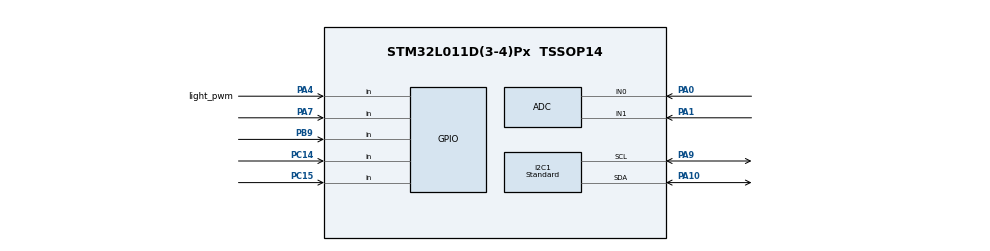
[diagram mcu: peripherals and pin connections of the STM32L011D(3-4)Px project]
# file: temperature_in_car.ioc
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ADC.ClockPrescaler=ADC_CLOCK_ASYNC_DIV64
ADC.SamplingTime=ADC_SAMPLETIME_160CYCLES_5
I2C1.I2C_Speed_Mode=I2C_Standard
I2C1.Timing=0x00303D5B
Mcu.Family=STM32L0
Mcu.Name=STM32L011D(3-4)Px
Mcu.Package=TSSOP14
PA0-CK_IN.Mode=IN0
PA0-CK_IN.Signal=ADC_IN0
PA1.Mode=IN1
PA1.Signal=ADC_IN1
PA10.GPIO_Pu=GPIO_PULLUP
PA10.Mode=I2C
PA10.Signal=I2C1_SDA
PA13.Mode=Serial_Wire
PA13.Signal=SYS_SWDIO
PA14.Mode=Serial_Wire
PA14.Signal=SYS_SWCLK
PA4.GPIO_Label=light_pwm
PA4.Signal=GPIO_Input
PA7.GPIO_PuPd=GPIO_PULLUP
PA7.Signal=GPIO_Input
PA9.GPIO_Pu=GPIO_PULLUP
PA9.Mode=I2C
PA9.Signal=I2C1_SCL
PB9-BOOT0.GPIO_PuPd=GPIO_PULLUP
PB9-BOOT0.Signal=GPIO_Input
PC14-OSC32_IN.GPIO_PuPd=GPIO_PULLUP
PC14-OSC32_IN.Signal=GPIO_Input
PC15-OSC32_OUT.GPIO_PuPd=GPIO_PULLUP
PC15-OSC32_OUT.Signal=GPIO_Input
ProjectManager.HeapSize=0x10
ProjectManager.StackSize=0x100
ProjectManager.TargetToolchain=STM32CubeIDE
RCC.AHBFreq_Value=16000000
RCC.APB1Freq_Value=16000000
RCC.APB1TimFreq_Value=16000000
RCC.APB2Freq_Value=16000000
RCC.APB2TimFreq_Value=16000000
RCC.HCLKFreq_Value=16000000
RCC.HSE_VALUE=8000000
RCC.HSI16_VALUE=16000000
RCC.HSI_VALUE=16000000
RCC.LSE_VALUE=32768
RCC.MSI_VALUE=2097000
RCC.PLLMUL=RCC_PLLMUL_4
RCC.SYSCLKFreq_VALUE=16000000
RCC.SYSCLKSource=RCC_SYSCLKSOURCE_HSI
RCC.VCOOutputFreq_Value=64000000
VP_ADC_Vref_Input.Mode=IN-Vrefint
board=custom

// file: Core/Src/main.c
/* USER CODE BEGIN Header */
/**
  ******************************************************************************
  * @file    main.c
  * @author  Макс
  * @brief   Автомобильный информационный дисплей на STM32L011
  *
  * @details
  * Устройство предназначено для установки в автомобиль и отображает:
  *   - Точное время с модуля DS3231 (RTC) на OLED-дисплее SSD1306.
  *   - Напряжение АКБ с предупреждением при выходе за допустимые пределы.
  *   - Температуру двигателя с датчика DS1621.
  *   - Автоматически регулирует яркость дисплея в зависимости от:
  *       • наличия зажигания (Veng),
  *       • состояния фар (Vlight).
  *
  * Управление:
  *   - Три кнопки: левая (H), средняя (M), правая (R).
  *   - Длинное нажатие правой кнопки → вход в режим настройки времени.
  *   - В режиме настройки:
  *       • Левая кнопка — увеличение часов,
  *       • Средняя — увеличение минут,
  *       • Короткое нажатие правой — сохранение и выход.
  *
  * Архитектура:
  *   - Без RTOS, кооперативная многозадачность через программные таймеры.
  *   - Все циклы (_cycle) вызываются в main() и работают независимо.
  *   - Защита от зависания — IWDG (независимый сторожевой таймер).
  *   - АЦП: 4 канала, медианная фильтрация по 8 выборкам, калибровка по VREFINT.
  *
  * Подключение:
  *   - Кнопки: PC14 (H), PC15 (M), PA7 (R) — активный уровень: низкий.
  *   - АЦП: канал 1 — Veng, канал 0 — Vbat, канал 4 — Vlight.
  *   - I2C1: SCL — PB6, SDA — PB7 (DS3231 и DS1621).
  *   - OLED: SSD1306 по I2C на том же шине.
  ******************************************************************************
  * @attention
  *
  * Copyright (c) 2025 STMicroelectronics.
  * All rights reserved.
  *
  * This software is licensed under terms that can be found in the LICENSE file
  * in the root directory of this software component.
  * If no LICENSE file comes with this software, it is provided AS-IS.
  *
  ******************************************************************************
  */
/* USER CODE END Header */
#include "main.h"
#include "adc.h"
#include "i2c.h"
#include "gpio.h"

/* USER CODE BEGIN Includes */
#include "misc.h"
#include "ssd1306.h"
#include "rtc_DS3231.h"
#include "ds1621.h"
#include "stm32l011_my_hal.h"
/* USER CODE END Includes */

/* USER CODE BEGIN PD */

// -------------------------------------------------------------------------
// ПЕР�?ОДЫ ОБНОВЛЕН�?Я (в миллисекундах)
// -------------------------------------------------------------------------
#define CLOCK_UPDATE_PERIOD_MS          500     ///< Обновление времени дважды в секунду (для мигания двоеточия)
#define VOLTAGE_UPDATE_PERIOD_MS        200     ///< Обновление напряжения АКБ 5 раз/сек
#define TEMPERATURE_UPDATE_PERIOD_MS    1000    ///< Чтение температуры раз в секунду
#define BUTTON_UPDATE_PERIOD_MS         10      ///< Опрос кнопок каждые 10 мс (антидребезг)
#define ADC_UPDATE_PERIOD_MS            100     ///< Полный цикл АЦП (включая усреднение по 8 точкам)
#define SCREEN_UPDATE_PERIOD_MS         100     ///< Обновление OLED раз в 100 мс
#define CALC_PWM_PERIOD_MS         		12

// -------------------------------------------------------------------------
// ПАРАМЕТРЫ ДЕЛ�?ТЕЛЕЙ НАПРЯЖЕН�?Я (в омах)
// �?спользуются для расчёта реального напряжения по показаниям АЦП:
//   V_реал = V_АЦП * (R_HI + R_LO) / R_LO
// -------------------------------------------------------------------------
#define R_HI_V_ENG                      83200   ///< Верхний резистор делителя для напряжения зажигания
#define R_LO_V_ENG                      19860   ///< Нижний резистор делителя для напряжения зажигания
#define R_HI_V_BAT                      82400   ///< Верхний резистор делителя для напряжения АКБ
#define R_LO_V_BAT                      19890   ///< Нижний резистор делителя для напряжения АКБ
#define R_HI_V_LIGHT                    81800   ///< Верхний резистор делителя для напряжения фар
#define R_LO_V_LIGHT                    19940   ///< Нижний резистор делителя для напряжения фар

// -------------------------------------------------------------------------
// ПОРОГ�? ПРЕДУПРЕЖДЕН�?Й (в милливольтах и градусах Цельсия)
// -------------------------------------------------------------------------
#define V_BAT_HI_WARNING_mV             14600   ///< Предупреждение: напряжение АКБ > 14.6 В (перезаряд)
#define V_BAT_LO_WARNING_mV             12000   ///< Предупреждение: напряжение АКБ < 12.0 В (разряд)
#define V_LO_THRESHOLD_mV               2000    ///< Порог: зажигание считается выключенным (<2 В)
#define V_LO_THRESHOLD_LIGHT_mV         8000    ///< Порог: фары выключены (<8 В) → днём → макс. яркость
#define T_HI_WARNING                    106     ///< Предупреждение: температура >= 106°C (перегрев)
#define T_LO_WARNING                    0       ///< Предупреждение: температура <= 0°C

// -------------------------------------------------------------------------
// КАЛ�?БРОВКА АЦП
// Эмпирические коэффициенты для коррекции систематической ошибки измерений.
// Формула: V_корр = ((V_расч * VOLTAGE_CORRECT_K) >> 16) + VOLTAGE_CORRECT_B
// -------------------------------------------------------------------------
#define VOLTAGE_CORRECT_K               67650   ///< Множитель в формате Q16.16 (сдвиг на 16 бит)
#define VOLTAGE_CORRECT_B               -159    ///< Аддитивная поправка, мВ

// -------------------------------------------------------------------------
// ПАРАМЕТРЫ ОБРАБОТК�? КНОПОК
// -------------------------------------------------------------------------
#define ADC_AVRG_NUM                    8       ///< Количество выборок АЦП для медианной фильтрации
#define BUTTON_LONG_PRESS_COUNT_LIMIT   (10000 / BUTTON_UPDATE_PERIOD_MS)  ///< 1000 = 10 сек (длинное нажатие)
#define BUTTON_PRESS_COUNT_LIMIT        (100 / BUTTON_UPDATE_PERIOD_MS)    ///< 10 = 100 мс (короткое нажатие)

/* USER CODE END PD */

/* USER CODE BEGIN PV */

/**
 * @brief Состояния кнопок
 */
enum button_state {
    BUTTON_IDLE = 0,   ///< Кнопка не нажата
    BUTTON_PRESS,      ///< Короткое нажатие (100 мс <= t < 10 сек)
    BUTTON_LPRESS,      ///< Длинное нажатие (t >= 10 сек)
	BUTTON_READED	// состояние прочитано, сбрасывайте
};

/**
 * @brief �?мена кнопок (соответствуют физическим кнопкам)
 */
enum button_name {
    BUTTON_H = 0,      ///< Левая кнопка (High / Hours)
    BUTTON_M,          ///< Средняя кнопка (Minutes)
    BUTTON_R           ///< Правая кнопка (Right / Enter)
};

typedef enum  {
	LIGHT_MODE_AUTO = 0,
	LIGHT_MODE_MIN,
	LIGHT_MODE_MAX,
	LIGHT_MODE_NUM
}light_mode_t;

/**
 * @brief Глобальный кэш состояния системы
 *
 * Все данные, которые должны сохраняться между вызовами _cycle() функций,
 * хранятся здесь. Это позволяет избежать глобальных переменных в разброс.
 */
struct {
    // --- Время ---
    DS3231_t time;                  ///< Текущее время от модуля DS3231
    timer_t tim_update_clock;       ///< Таймер обновления часов

    // --- Напряжения ---
    timer_t tim_update_voltage;     ///< Таймер обновления отображения напряжения
    timer_t tim_update_adc;         ///< Таймер АЦП
    uint32_t Veng_mV;               ///< Напряжение зажигания (мВ)
    uint32_t Vbat_mV;               ///< Напряжение АКБ (мВ)

    // --- Температура ---
    timer_t tim_update_temperature; ///< Таймер обновления температуры

    // --- Кнопки ---
    timer_t tim_update_button;      ///< Таймер опроса кнопок
    enum button_state button_state[BUTTON_R + 1]; ///< Текущее состояние трёх кнопок

    // --- Дисплей ---
    timer_t tim_update_screen;      ///< Таймер обновления OLED
    light_mode_t light_mode;
} cache;

/* USER CODE END PV */

void SystemClock_Config(void);

/* USER CODE BEGIN 0 */

/**
 * @brief Режим редактирования времени
 *
 * Управление:
 *   - Длинное нажатие правой кнопки (BUTTON_R) → вход в режим настройки.
 *   - В режиме настройки:
 *       • Левая кнопка (BUTTON_H) — +1 час (0–23),
 *       • Средняя кнопка (BUTTON_M) — +1 минута (0–59),
 *       • Короткое нажатие правой кнопки — сохранить и выйти.
 *
 * Особенности:
 *   - При изменении времени строка немедленно отображается на экране (инвертированная).
 *   - После выхода из режима все кнопки сбрасываются в BUTTON_IDLE.
 *   - Время корректируется через DS3231_correct(), метка коррекции сохраняется в EEPROM[0].
 *
 * @return 1, если находится в режиме редактирования; 0 — в обычном режиме.
 */
int Clock_edit(void)
{
    static uint8_t state = 0;           // 0 — ожидание входа, 1 — редактирование
    static uint8_t new_hour = 0;        // Редактируемое значение часов
    static uint8_t new_minutes = 0;     // Редактируемое значение минут
    static uint8_t need_update = 0;     // Флаг необходимости обновить отображение

    switch (state) {
        case 0:
            // Ожидаем длинное нажатие правой кнопки для входа в настройку
            if (cache.button_state[BUTTON_R] == BUTTON_LPRESS) {
                // Загружаем текущее время из кэша
                new_hour = cache.time.hours_10 * 10 + cache.time.hours;
                new_minutes = cache.time.minutes_10 * 10 + cache.time.minutes;
                state = 1;
                need_update = 1;
            }
            break;

        case 1:
            // Управление часами
            if (cache.button_state[BUTTON_H] == BUTTON_PRESS) {
                if (new_hour < 23) new_hour++; else new_hour = 0;
                need_update = 1;
            }

            // Управление минутами
            if (cache.button_state[BUTTON_M] == BUTTON_PRESS) {
                if (new_minutes < 59) new_minutes++; else new_minutes = 0;
                need_update = 1;
            }

            // Сохранение и выход
            if (cache.button_state[BUTTON_R] == BUTTON_PRESS) {
                uint32_t last_correct_sec = EEPROM_ReadWord(0); // Читаем метку из EEPROM
                int res = DS3231_correct(new_hour, new_minutes, 0, &last_correct_sec);
                if (res > 0) EEPROM_WriteWord(0, last_correct_sec); // Сохраняем новую метку
                res = DS3231_Read(&cache.time); // Обновляем кэш времени
                state = 0;
            }

            // Обновление отображения редактируемого времени
            if (need_update) {
                static char time_str[6] = {[5] = 0}; // "HH MM\0"
                time_str[0] = '0' + new_hour / 10;
                time_str[1] = '0' + new_hour % 10;
                time_str[2] = ' ';
                time_str[3] = '0' + new_minutes / 10;
                time_str[4] = '0' + new_minutes % 10;
                ssd1306_SetCursor(0, 0);
                ssd1306_WriteString(time_str, 1, 1); // �?нвертированный текст
                need_update = 0;
            }
            break;

        default:
            state = 0;
            break;
    }

    // Сброс состояния кнопок после обработки (защита от повторного срабатывания)
    cache.button_state[BUTTON_R] = BUTTON_READED;
    if (cache.button_state[BUTTON_H] == BUTTON_PRESS) cache.button_state[BUTTON_H] = BUTTON_READED; // обработка долгого нажатия в другом месте - light
    if (cache.button_state[BUTTON_M] == BUTTON_PRESS) cache.button_state[BUTTON_M] = BUTTON_READED;

    return state;
}

/**
 * @brief Цикл обновления часов и отображения времени
 *
 * Логика:
 *   - При первом вызове инициализирует таймер обновления.
 *   - Если активен режим редактирования (Clock_edit() == 1) — обновление приостанавливается.
 *   - Каждые CLOCK_UPDATE_PERIOD_MS (500 мс):
 *       • Через раз читает время из DS3231 (чтобы не перегружать шину),
 *       • Формирует строку "HH:MM" с мигающим двоеточием (через раз — пробел),
 *       • При ошибке чтения выводит "::X::", где X = -код ошибки.
 */
void Clock_cycle(void)
{
    static uint8_t cnt = 0;
    static char time_str[6] = {[5] = 0}; // "HH:MM\0"
    static uint8_t is_init = 0;

    if (!is_init) {
        Timer_set(&cache.tim_update_clock, CLOCK_UPDATE_PERIOD_MS);
        is_init = 1;
    }

    int is_clock_edit = Clock_edit(); // Обязательно вызывать каждый цикл!
    if (Timer_isExpired(&cache.tim_update_clock)) {
        if (is_clock_edit) return; // В режиме редактирования не обновляем время

        cnt++;
        static int res = 0;
        if (cnt & 1) {
            res = DS3231_Read(&cache.time); // Читаем только на нечётных тиках
        }

        if (res > 0) {
            // Успешное чтение — формируем строку времени
            time_str[0] = '0' + cache.time.hours_10;
            time_str[1] = '0' + cache.time.hours;
            time_str[2] = (cnt & 1) ? ' ' : ':'; // Мигание двоеточия
            time_str[3] = '0' + cache.time.minutes_10;
            time_str[4] = '0' + cache.time.minutes;
        } else {
            // Ошибка чтения — выводим диагностический код
            time_str[0] = ':';
            time_str[1] = ':';
            time_str[2] = '0' - res; // Например, если res = -2 → '2'
            time_str[3] = ':';
            time_str[4] = ':';
        }

        ssd1306_SetCursor(0, 0);
        ssd1306_WriteString(time_str, 1, 0); // Нормальный (не инвертированный) текст
    }
}

/**
 * @brief Цикл опроса кнопок с антидребезгом
 *
 * Подключение:
 *   - BUTTON_H (левая): PC14, активный уровень — низкий.
 *   - BUTTON_M (средняя): PC15, активный уровень — низкий.
 *   - BUTTON_R (правая): PA7, активный уровень — низкий.
 *
 * Логика:
 *   - Каждые BUTTON_UPDATE_PERIOD_MS (10 мс) опрашивает состояние GPIO.
 *   - Для каждой кнопки ведёт счётчик непрерывного нажатия.
 *   - При отпускании:
 *       • Если счётчик в [BUTTON_PRESS_COUNT_LIMIT, BUTTON_LONG_PRESS_COUNT_LIMIT) → BUTTON_PRESS,
 *       • Если счётчик >= BUTTON_LONG_PRESS_COUNT_LIMIT → BUTTON_LPRESS.
 *   - Счётчик сбрасывается при отпускании.
 */
void Button_cycle(void)
{
    static uint8_t is_init = 0;
    if (!is_init) {
        Timer_set(&cache.tim_update_button, BUTTON_UPDATE_PERIOD_MS);
        is_init = 1;
    }

    static uint32_t button_counter[BUTTON_R + 1] = {0};
    uint8_t button_press[BUTTON_R + 1];

    if (Timer_isExpired(&cache.tim_update_button)) {
        // Опрос GPIO (активный уровень — низкий)
        button_press[BUTTON_H] = !LL_GPIO_IsInputPinSet(GPIOC, LL_GPIO_PIN_14);
        button_press[BUTTON_M] = !LL_GPIO_IsInputPinSet(GPIOC, LL_GPIO_PIN_15);
        button_press[BUTTON_R] = !LL_GPIO_IsInputPinSet(GPIOA, LL_GPIO_PIN_7);

        for (int i = BUTTON_H; i <= BUTTON_R; i++)
        {
        	if (cache.button_state[i] == BUTTON_READED)
        	{
        		cache.button_state[i] = BUTTON_IDLE;
        		button_counter[i] = 0;
        	}
            if (button_press[i])
            {
                button_counter[i]++;
            }
            else
            {
                // Кнопка отпущена — анализируем длительность нажатия
                if ((button_counter[i] > BUTTON_PRESS_COUNT_LIMIT) &&
                    (button_counter[i] < BUTTON_LONG_PRESS_COUNT_LIMIT))
                {
                    cache.button_state[i] = BUTTON_PRESS;
                }
                button_counter[i] = 0; // Сброс счётчика
            }
            // Проверка на длинное нажатие (даже если кнопка всё ещё нажата)
            if (button_counter[i] >= BUTTON_LONG_PRESS_COUNT_LIMIT)
            {
                cache.button_state[i] = BUTTON_LPRESS;
            }
        }
    }
}

int _calc_light_pwm(uint16_t *pwm_duty)
{
	timer_t _timer;
	Timer_set(&_timer, CALC_PWM_PERIOD_MS);
	uint8_t first_pin_state = !!LL_GPIO_IsInputPinSet(light_pwm_GPIO_Port, light_pwm_Pin);
	uint8_t num_changes = 0; // количество фронтов
	uint8_t last_pin = first_pin_state;
	uint8_t current_pin;
	uint32_t front_timestamp[3];

	while(!Timer_isExpired(&_timer))
	{
		current_pin = !!LL_GPIO_IsInputPinSet(light_pwm_GPIO_Port, light_pwm_Pin);
		if (current_pin != last_pin)
		{
			front_timestamp[num_changes++] = timer_get_mks();
			if (num_changes == 3) break;
		}
		last_pin = current_pin;
	}

	if(num_changes == 0) // фронтов небыло
	{
		*pwm_duty = first_pin_state ? 0xFF : 0;
		return 1;
	}

	if(num_changes != 3) // не расчитали полный период
		return -1;

	uint16_t t0 = (uint16_t)(front_timestamp[1] - front_timestamp[0]);
	uint16_t t1 = (uint16_t)(front_timestamp[2] - front_timestamp[1]);

	if ((t0 < 200) || (t1 < 200))	// слишком малые периоды
		return -2;

	uint16_t period = front_timestamp[2] - front_timestamp[0]; // полный период
	uint16_t pulse = (first_pin_state) ? t1 : t0;               // длительность HIGH
	*pwm_duty = (uint16_t)((0xFFFFul * pulse) / period);

	return 1;
}

/**
 * @brief Цикл управления OLED-дисплеем SSD1306
 *
 * Логика регулировки яркости:
 *   1. Если Veng < V_LO_THRESHOLD_mV (2 В) → зажигание выключено → яркость = 0 (минимум).
 *   2. Если Vlight < V_LO_THRESHOLD_LIGHT_mV (8 В) → фары выключены → считаем, что днём → яркость = 0xFF (максимум).
 *   3. Если Vlight > Veng → ошибка подключения → яркость = 0.
 *   4. �?наче (фары включены, зажигание включено):
 *        яркость = 0xFF - (Vlight - 8000) * 0xFF / (Veng - 8000)
 *        → чем выше Vlight (ближе к Veng), тем темнее экран.
 *
 * Дополнительно:
 *   - При первом вызове инициализирует дисплей.
 *   - Обновляет экран каждые SCREEN_UPDATE_PERIOD_MS.
 */
void Display_cycle(void)
{
    static uint8_t is_init = 0;

    if (!is_init) {
        ssd1306_Init(); // �?нициализация OLED
        Timer_set(&cache.tim_update_screen, SCREEN_UPDATE_PERIOD_MS);
        uint8_t light_mode = EEPROM_ReadWord(4);
        if (light_mode < LIGHT_MODE_NUM)
        	cache.light_mode = (light_mode_t)light_mode;
        is_init = 1;
    }

    if (cache.button_state[BUTTON_H] == BUTTON_LPRESS)
    {
    	cache.button_state[BUTTON_H] = BUTTON_READED;
    	cache.light_mode++;
    	if (cache.light_mode == LIGHT_MODE_NUM)
    		cache.light_mode = LIGHT_MODE_AUTO;
    	EEPROM_WriteWord(4, (uint32_t)cache.light_mode);
    }
    if (cache.button_state[BUTTON_M] == BUTTON_LPRESS)
    {
      	cache.button_state[BUTTON_H] = BUTTON_READED;
        cache.light_mode = LIGHT_MODE_AUTO;
        EEPROM_WriteWord(4, (uint32_t)cache.light_mode);
    }

    if (!Timer_isExpired(&cache.tim_update_screen)) return;

    static uint8_t light = 1; // Текущая яркость
    // Расчёт новой яркости
    do {
    if (cache.Veng_mV < V_LO_THRESHOLD_mV) // Зажигание выключено
    {
    	light = 0;
    	break;
    }

    if (cache.light_mode != LIGHT_MODE_AUTO)
    {
    	light = cache.light_mode == LIGHT_MODE_MIN ? 0 : 0XFF;
    	break;
    }

    uint16_t pwm_duty;
    int res = _calc_light_pwm(&pwm_duty);
    if (res <= 0)
    	break;

    const uint16_t p_max = 4ul * 0xFFFFul / 5ul; // минимальная подсветка если  будет больше, то light = 0

    if (pwm_duty >= p_max )// при pwm = 4/5 - минимальная подсветка
    {
    	light = 0;
    	break;
    }

    // k = 5 * 0xFF / (4 * 0xFFFF)  b=0xFF light = b - k* pwm_duty
    light = 0xFF - (5ul * 0xFFul * pwm_duty)/(4ul * 0xFFFFul);

    } while(0);
    // Применяем новую яркость
    ssd1306_SetContrast(light);

    // Обновляем содержимое экрана
    ssd1306_UpdateScreen();
}

/**
 * @brief Цикл измерения аналоговых напряжений
 *
 * �?змеряемые каналы:
 *   - Veng: LL_ADC_CHANNEL_1 → напряжение зажигания
 *   - Vbat: LL_ADC_CHANNEL_0 → напряжение АКБ
 *   - Vlight: LL_ADC_CHANNEL_4 → напряжение фар
 *   - Vref: LL_ADC_CHANNEL_VREFINT → внутренний опорный для калибровки
 *
 * Логика:
 *   - Каждые (ADC_UPDATE_PERIOD_MS / ADC_AVRG_NUM) = 12.5 мс измеряется один канал.
 *   - После 8 измерений (полный цикл) выполняется обработка:
 *       1. Вычисляется медиана по Vrefint → определяется коэффициент масштаба k.
 *       2. Для каждого канала:
 *           - Берётся медиана из 8 значений,
 *           - Переводится в мВ: V_mV = raw * (VREFINT_CAL / Vref_median),
 *           - Умножается на коэффициент делителя,
 *           - Применяется линейная коррекция (K и B).
 */
void ADC_cycle(void)
{
    enum channels_name { Veng = 0, Vbat, Vref, size_ };
    const uint32_t channels_[size_] = {
        LL_ADC_CHANNEL_1,           // Veng
        LL_ADC_CHANNEL_0,           // Vbat
        LL_ADC_CHANNEL_VREFINT      // Vref
    };

    static uint16_t adc[size_][ADC_AVRG_NUM] = {0}; // Кольцевой буфер измерений
    static uint8_t curr = 0;                        // Текущий индекс в буфере

    static uint8_t is_init = 0;
    if (!is_init) {
        Timer_set(&cache.tim_update_adc, ADC_UPDATE_PERIOD_MS / ADC_AVRG_NUM);
        is_init = 1;
    }

    if (!Timer_isExpired(&cache.tim_update_adc)) return;

    // Выполняем одно измерение по каждому каналу
    for (int i = Veng; i < size_; i++) {
        adc[i][curr] = Read_ADC_Channel(channels_[i]);
    }

    curr++;
    if (curr == ADC_AVRG_NUM) { // Собрали полный набор → обрабатываем
        curr = 0;

        // Калибровка по внутреннему опорному напряжению
        uint16_t V_ref_median = GetMedian_16(&adc[Vref][0], ADC_AVRG_NUM);
        uint32_t k = GET_ADC_K(ADC_V_REF_mV, V_ref_median); // k = (Vref_cal * 4095) / V_ref_median

        // Обработка Veng
        uint16_t V = GetMedian_16(&adc[Veng][0], ADC_AVRG_NUM);
        cache.Veng_mV = GET_mV(V, k) * (R_HI_V_ENG + R_LO_V_ENG) / R_LO_V_ENG;
        cache.Veng_mV = ((VOLTAGE_CORRECT_K * cache.Veng_mV) >> 16) + VOLTAGE_CORRECT_B;

        // Обработка Vbat
        V = GetMedian_16(&adc[Vbat][0], ADC_AVRG_NUM);
        cache.Vbat_mV = GET_mV(V, k) * (R_HI_V_BAT + R_LO_V_BAT) / R_LO_V_BAT;
        cache.Vbat_mV = ((VOLTAGE_CORRECT_K * cache.Vbat_mV) >> 16) + VOLTAGE_CORRECT_B;

    }
}

/**
 * @brief Отображение напряжения АКБ на OLED
 *
 * Логика:
 *   - Каждые VOLTAGE_UPDATE_PERIOD_MS (200 мс) обновляет строку вида " 12.5v".
 *   - Если Vbat_mV выходит за [V_BAT_LO_WARNING_mV, V_BAT_HI_WARNING_mV] → текст инвертируется.
 *   - Позиция: правый верхний угол (80, 0).
 */
void Voltage_cycle(void)
{
    static uint8_t is_init = 0;
    if (!is_init) {
        Timer_set(&cache.tim_update_voltage, VOLTAGE_UPDATE_PERIOD_MS);
        is_init = 1;
    }

    if (!Timer_isExpired(&cache.tim_update_voltage)) return;

    // Проверка на аварийное напряжение
    uint8_t is_warning = (cache.Vbat_mV < V_BAT_LO_WARNING_mV) ||
                         (cache.Vbat_mV > V_BAT_HI_WARNING_mV);

    // Преобразуем Vbat_mV в строку (например, 12500 → "      12500")
    char v_mV[12];
    Int_to_str(cache.Vbat_mV, v_mV);

    // Формируем строку " 12.5v" (пробелы для выравнивания до 6 символов)
    char v[7] = " 12.5v";
    v[1] = v_mV[6]; // Десятки вольт
    v[2] = v_mV[7]; // Единицы вольт
    v[4] = v_mV[8]; // десятые вольта (после точки)

    ssd1306_SetCursor(80, 0);
    ssd1306_WriteString(v, 0, is_warning); // is_warning → инверсия
}

/**
 * @brief Цикл измерения и отображения температуры
 *
 * Логика:
 *   - При первом вызове инициализирует DS1621 и запускает первое преобразование.
 *   - Каждую секунду:
 *       • Читает результат предыдущего преобразования,
 *       • Сразу запускает следующее (DS1621 работает асинхронно),
 *       • Отображает температуру в формате "  -33c",
 *       • При выходе за [T_LO_WARNING, T_HI_WARNING] → инверсия текста.
 *   - Позиция: правый нижний угол (80, 16).
 */
void Temperature_cycle(void)
{
    static uint8_t is_init = 0;
    if (!is_init) {
        Timer_set(&cache.tim_update_temperature, TEMPERATURE_UPDATE_PERIOD_MS);
        ds1621_cfg_t cfg = {0};
        DS1621_set_cfg(&cfg);       // Сбрасываем конфигурацию датчика
        Timer_delay_ms(10);
        DS1621_start_convert();     // Запускаем первое преобразование
        is_init = 1;
    }

    if (!Timer_isExpired(&cache.tim_update_temperature)) return;

    ds1621_temp_t temp = DS1621_get_temp(); // Читаем результат
    DS1621_start_convert();                 // Запускаем следующее преобразование

    // Проверка на аварийную температуру
    uint8_t is_warning = (temp.temp <= T_LO_WARNING) || (temp.temp >= T_HI_WARNING);

    // Преобразуем температуру в строку (например, -33 → "      -33")
    char str_temp[12];
    Int_to_str(temp.temp, str_temp);

    // Формируем строку "  -33c"
    char disp[7] = "  -33c";
    disp[2] = str_temp[8]; // Сотни (обычно ' ' или '-')
    disp[3] = str_temp[9]; // Десятки
    disp[4] = str_temp[10]; // Единицы

    ssd1306_SetCursor(80, 16);
    ssd1306_WriteString(disp, 0, is_warning);
}

/* USER CODE END 0 */

int main(void)
{

  /* MCU Configuration--------------------------------------------------------*/

  /* Reset of all peripherals, Initializes the Flash interface and the Systick. */
  LL_APB2_GRP1_EnableClock(LL_APB2_GRP1_PERIPH_SYSCFG);
  LL_APB1_GRP1_EnableClock(LL_APB1_GRP1_PERIPH_PWR);

  /* SysTick_IRQn interrupt configuration */
  NVIC_SetPriority(SysTick_IRQn, 3);

  /* Configure the system clock */
  SystemClock_Config();

  /* Initialize all configured peripherals */
  MX_GPIO_Init();
  MX_ADC_Init();
  MX_I2C1_Init();
  /* USER CODE BEGIN 2 */
  timer_ms_init();              // �?нициализация программных таймеров
  IWDG_Start_MaxTimeout();      // Запуск сторожевого таймера (~32 сек)
  /* USER CODE END 2 */

  /* Infinite loop */
  /* USER CODE BEGIN WHILE */
  while (1)
  {
	  Clock_cycle();              // Обновление времени
	  Button_cycle();             // Опрос кнопок
	  ADC_cycle();                // Измерение напряжений
	  Voltage_cycle();            // Отображение напряжения АКБ
	  Temperature_cycle();        // Измерение и отображение температуры
	  Display_cycle();            // Обновление OLED и яркости

	  IWDG_Refresh();             // Сброс сторожевого таймера

    /* USER CODE END WHILE */

  }
}

void SystemClock_Config(void)
{
  LL_FLASH_SetLatency(LL_FLASH_LATENCY_0);
  while(LL_FLASH_GetLatency()!= LL_FLASH_LATENCY_0)
  {
  }
  LL_PWR_SetRegulVoltageScaling(LL_PWR_REGU_VOLTAGE_SCALE1);
  while (LL_PWR_IsActiveFlag_VOS() != 0)
  {
  }
  LL_RCC_HSI_Enable();

   /* Wait till HSI is ready */
  while(LL_RCC_HSI_IsReady() != 1)
  {

  }
  LL_RCC_HSI_SetCalibTrimming(16);
  LL_RCC_SetAHBPrescaler(LL_RCC_SYSCLK_DIV_1);
  LL_RCC_SetAPB1Prescaler(LL_RCC_APB1_DIV_1);
  LL_RCC_SetAPB2Prescaler(LL_RCC_APB2_DIV_1);
  LL_RCC_SetSysClkSource(LL_RCC_SYS_CLKSOURCE_HSI);

   /* Wait till System clock is ready */
  while(LL_RCC_GetSysClkSource() != LL_RCC_SYS_CLKSOURCE_STATUS_HSI)
  {

  }

  LL_Init1msTick(16000000);

  LL_SetSystemCoreClock(16000000);
  LL_RCC_SetI2CClockSource(LL_RCC_I2C1_CLKSOURCE_PCLK1);
}

void Error_Handler(void)
{
  __disable_irq();
  while (1)
  {
  }
}
